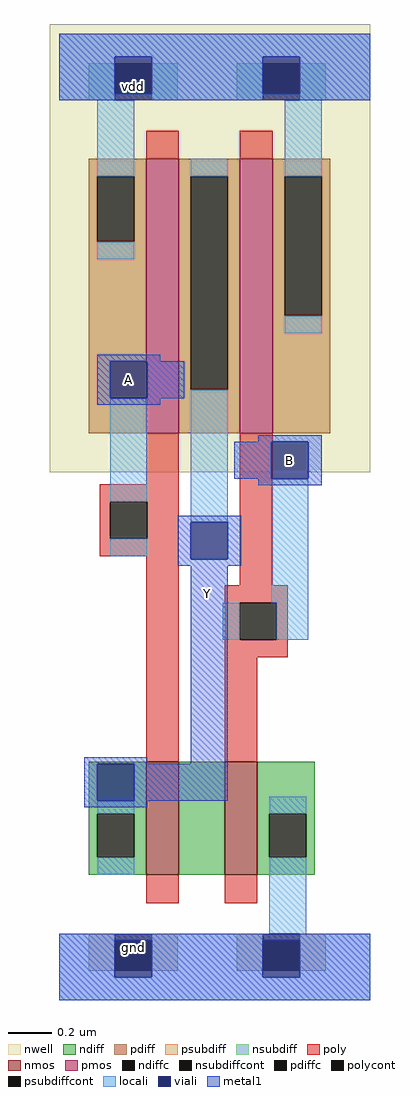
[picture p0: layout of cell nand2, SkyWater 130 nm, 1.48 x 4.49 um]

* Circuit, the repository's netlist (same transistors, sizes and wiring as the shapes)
* NGSPICE file created from nand2.ext - technology: sky130A

.subckt nand2 Y A B vdd gnd
X0 vdd B Y vdd sky130_fd_pr__pfet_01v8 ad=0.334 pd=3.05 as=0.176 ps=1.54 w=1.26 l=0.15
X1 Y A vdd vdd sky130_fd_pr__pfet_01v8 ad=0.176 pd=1.54 as=0.334 ps=3.05 w=1.26 l=0.15
X2 a_110_115# A Y gnd sky130_fd_pr__nfet_01v8 ad=0.0546 pd=0.73 as=0.138 ps=1.57 w=0.52 l=0.15
X3 gnd B a_110_115# gnd sky130_fd_pr__nfet_01v8 ad=0.138 pd=1.57 as=0.0546 ps=0.73 w=0.52 l=0.15
.ends

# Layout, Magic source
magic
tech sky130A
magscale 1 2
<< nwell >>
rect -9 485 286 897
<< nmos >>
rect 80 115 110 219
rect 152 115 182 219
<< pmos >>
rect 80 521 110 773
rect 166 521 196 773
<< ndiff >>
rect 27 171 80 219
rect 27 131 35 171
rect 69 131 80 171
rect 27 115 80 131
rect 110 115 152 219
rect 182 171 235 219
rect 182 131 193 171
rect 227 131 235 171
rect 182 115 235 131
<< pdiff >>
rect 27 757 80 773
rect 27 697 35 757
rect 69 697 80 757
rect 27 521 80 697
rect 110 757 166 773
rect 110 561 121 757
rect 155 561 166 757
rect 110 521 166 561
rect 196 757 249 773
rect 196 629 207 757
rect 241 629 249 757
rect 196 521 249 629
<< ndiffc >>
rect 35 131 69 171
rect 193 131 227 171
<< pdiffc >>
rect 35 697 69 757
rect 121 561 155 757
rect 207 629 241 757
<< psubdiff >>
rect 27 27 51 61
rect 85 27 109 61
rect 163 27 187 61
rect 221 27 245 61
<< nsubdiff >>
rect 27 827 51 861
rect 85 827 109 861
rect 163 827 187 861
rect 221 827 245 861
<< psubdiffcont >>
rect 51 27 85 61
rect 187 27 221 61
<< nsubdiffcont >>
rect 51 827 85 861
rect 187 827 221 861
<< poly >>
rect 80 773 110 799
rect 166 773 196 799
rect 80 474 110 521
rect 37 458 110 474
rect 37 424 47 458
rect 81 424 110 458
rect 37 408 110 424
rect 80 219 110 408
rect 166 381 196 521
rect 152 365 210 381
rect 152 331 166 365
rect 200 331 210 365
rect 152 315 210 331
rect 152 219 182 315
rect 80 89 110 115
rect 152 89 182 115
<< polycont >>
rect 47 424 81 458
rect 166 331 200 365
<< locali >>
rect 0 867 286 888
rect 0 827 51 867
rect 85 827 187 867
rect 221 827 286 867
rect 35 757 69 827
rect 35 681 69 697
rect 121 757 155 773
rect 47 458 81 553
rect 47 408 81 424
rect 207 757 241 827
rect 207 613 241 629
rect 121 439 155 561
rect 195 365 229 479
rect 150 331 166 365
rect 200 331 229 365
rect 35 171 69 183
rect 35 115 69 131
rect 193 171 227 187
rect 193 61 227 131
rect 0 21 51 61
rect 85 21 187 61
rect 221 21 286 61
rect 0 0 286 21
<< viali >>
rect 51 861 85 867
rect 51 833 85 861
rect 187 861 221 867
rect 187 833 221 861
rect 47 553 81 587
rect 121 405 155 439
rect 195 479 229 513
rect 35 183 69 217
rect 51 27 85 55
rect 51 21 85 27
rect 187 27 221 55
rect 187 21 221 27
<< metal1 >>
rect 0 867 286 888
rect 0 833 51 867
rect 85 833 187 867
rect 221 833 286 867
rect 0 827 286 833
rect 35 587 93 593
rect 35 553 47 587
rect 81 553 115 587
rect 35 547 93 553
rect 183 513 241 519
rect 161 479 195 513
rect 229 479 241 513
rect 183 473 241 479
rect 109 439 167 445
rect 109 405 121 439
rect 155 405 167 439
rect 109 399 167 405
rect 23 217 81 223
rect 121 217 155 399
rect 23 183 35 217
rect 69 183 155 217
rect 23 177 81 183
rect 0 55 286 61
rect 0 21 51 55
rect 85 21 187 55
rect 221 21 286 55
rect 0 0 286 21
<< labels >>
rlabel metal1 136 374 136 374 1 Y
port 1 n
rlabel viali 64 570 64 570 1 A
port 2 n
rlabel viali 212 496 212 496 1 B
port 3 n
rlabel viali 68 48 68 48 1 gnd
port 5 n
rlabel viali 68 840 68 840 1 vdd
port 4 n
<< end >>
